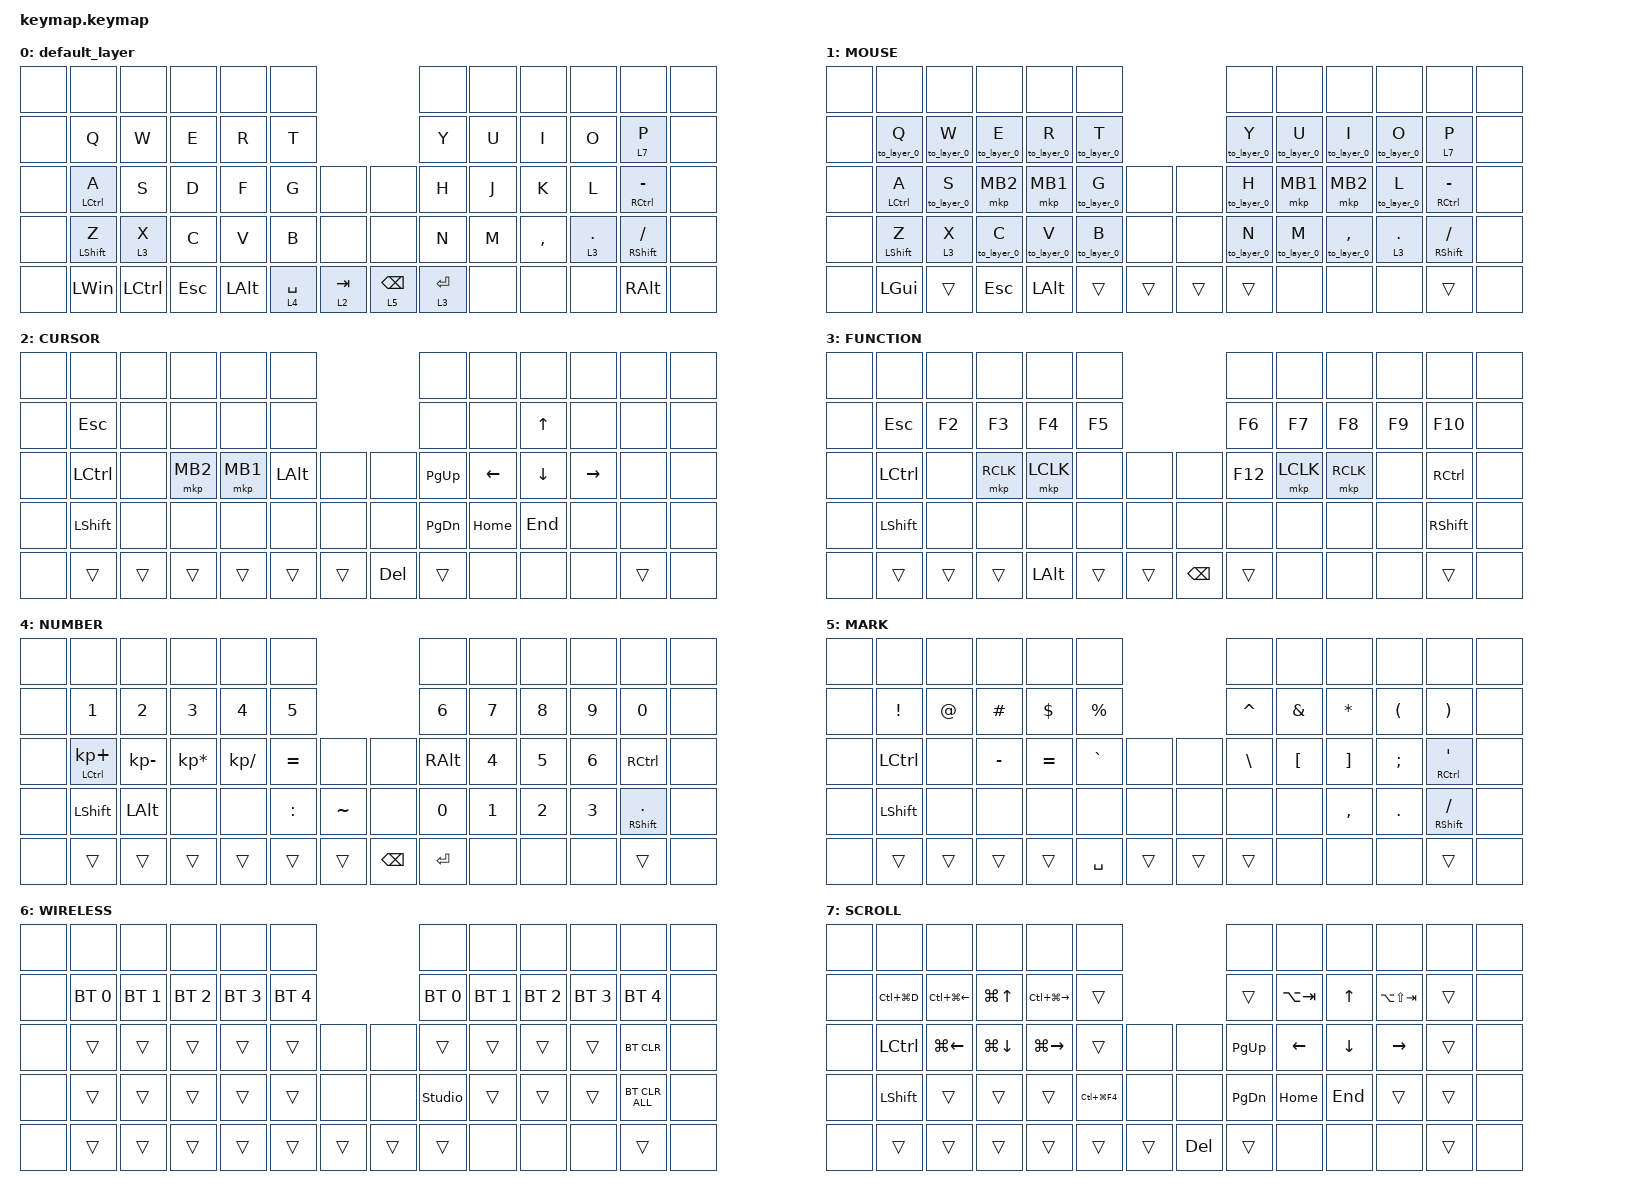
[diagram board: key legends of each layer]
#include <behaviors.dtsi>
#include <dt-bindings/zmk/bt.h>
#include <dt-bindings/zmk/keys.h>
#include <dt-bindings/zmk/pointing.h>

&mt {
    flavor = "balanced";
    quick-tap-ms = <0>;
};

&lt {
    quick-tap-ms = <300>;
    flavor = "balanced";
};

/ {
    combos {
        compatible = "zmk,combos";

        lang1 {
            bindings = <&kp LANG1>;
            key-positions = <21 20>;
        };

        lang2 {
            bindings = <&kp LANG2>;
            key-positions = <15 14>;
        };

        bs {
            bindings = <&kp BACKSPACE>;
            key-positions = <22 21>;
        };
    };

    macros {
        to_layer_0: to_layer_0 {
            compatible = "zmk,behavior-macro-one-param";
            #binding-cells = <1>;
            bindings = <&to 0 &macro_param_1to1 &kp MACRO_PLACEHOLDER>;
            label = "TO_LAYER_0";
        };
    };

    behaviors {
        lt_to_layer_0: lt_to_layer_0 {
            compatible = "zmk,behavior-hold-tap";
            label = "LAYER_TAP_TO_0";
            bindings = <&mo>, <&to_layer_0>;

            #binding-cells = <2>;
            tapping-term-ms = <200>;
        };
    };

    keymap {
        compatible = "zmk,keymap";

        default_layer {
            bindings = <
&none  &none               &none             &none       &none         &none                                                          &none        &none  &none      &none         &none                    &none
&none  &kp Q               &kp W             &kp E       &kp R         &kp T                                                          &kp Y        &kp U  &kp I      &kp O         &lt 7 P                  &none
&none  &mt LEFT_CONTROL A  &kp S             &kp D       &kp F         &kp G        &none                 &none                       &kp H        &kp J  &kp K      &kp L         &mt RIGHT_CONTROL MINUS  &none
&none  &mt LEFT_SHIFT Z    &lt 3 X           &kp C       &kp V         &kp B        &none                 &none                       &kp N        &kp M  &kp COMMA  &lt 3 PERIOD  &mt RIGHT_SHIFT SLASH    &none
&none  &kp LEFT_WIN        &kp LEFT_CONTROL  &kp ESCAPE  &kp LEFT_ALT  &lt 4 SPACE  &lt_to_layer_0 2 TAB  &lt_to_layer_0 5 BACKSPACE  &lt 3 ENTER  &none  &none      &none         &kp RIGHT_ALT            &none
            >;
        };

        MOUSE {
            bindings = <
&none  &none               &none          &none          &none          &none                          &none          &none          &none              &none          &none                    &none
&none  &to_layer_0 Q       &to_layer_0 W  &to_layer_0 E  &to_layer_0 R  &to_layer_0 T                  &to_layer_0 Y  &to_layer_0 U  &to_layer_0 I      &to_layer_0 O  &lt 7 P                  &none
&none  &mt LEFT_CONTROL A  &to_layer_0 S  &mkp MB2       &mkp MB1       &to_layer_0 G  &none   &none   &to_layer_0 H  &mkp MB1       &mkp MB2           &to_layer_0 L  &mt RIGHT_CONTROL MINUS  &none
&none  &mt LEFT_SHIFT Z    &lt 3 X        &to_layer_0 C  &to_layer_0 V  &to_layer_0 B  &none   &none   &to_layer_0 N  &to_layer_0 M  &to_layer_0 COMMA  &lt 3 PERIOD   &mt RIGHT_SHIFT SLASH    &none
&none  &kp LEFT_GUI        &trans         &kp ESCAPE     &kp LEFT_ALT   &trans         &trans  &trans  &trans         &none          &none              &none          &trans                   &none
            >;
        };

        CURSOR {
            bindings = <
&none  &none             &none   &none     &none     &none                          &none          &none           &none           &none            &none   &none
&none  &kp ESCAPE        &none   &none     &none     &none                          &none          &none           &kp UP_ARROW    &none            &none   &none
&none  &kp LEFT_CONTROL  &none   &mkp MB2  &mkp MB1  &kp LEFT_ALT  &none   &none    &kp PAGE_UP    &kp LEFT_ARROW  &kp DOWN_ARROW  &kp RIGHT_ARROW  &none   &none
&none  &kp LEFT_SHIFT    &none   &none     &none     &none         &none   &none    &kp PAGE_DOWN  &kp HOME        &kp END         &none            &none   &none
&none  &trans            &trans  &trans    &trans    &trans        &trans  &kp DEL  &trans         &none           &none           &none            &trans  &none
            >;
        };

        FUNCTION {
            bindings = <
&none  &none             &none   &none      &none         &none                          &none    &none      &none      &none   &none              &none
&none  &kp ESCAPE        &kp F2  &kp F3     &kp F4        &kp F5                         &kp F6   &kp F7     &kp F8     &kp F9  &kp F10            &none
&none  &kp LEFT_CONTROL  &none   &mkp RCLK  &mkp LCLK     &none   &none   &none          &kp F12  &mkp LCLK  &mkp RCLK  &none   &kp RIGHT_CONTROL  &none
&none  &kp LEFT_SHIFT    &none   &none      &none         &none   &none   &none          &none    &none      &none      &none   &kp RIGHT_SHIFT    &none
&none  &trans            &trans  &trans     &kp LEFT_ALT  &trans  &trans  &kp BACKSPACE  &trans   &none      &none      &none   &trans             &none
            >;
        };

        NUMBER {
            bindings = <
&none  &none                     &none         &none            &none         &none                                   &none          &none         &none         &none         &none                   &none
&none  &kp NUMBER_1              &kp NUMBER_2  &kp NUMBER_3     &kp NUMBER_4  &kp NUMBER_5                            &kp NUMBER_6   &kp NUMBER_7  &kp NUMBER_8  &kp NUMBER_9  &kp NUMBER_0            &none
&none  &mt LEFT_CONTROL KP_PLUS  &kp KP_MINUS  &kp KP_ASTERISK  &kp KP_SLASH  &kp EQUAL     &none      &none          &kp RIGHT_ALT  &kp NUMBER_4  &kp NUMBER_5  &kp NUMBER_6  &kp RIGHT_CONTROL       &none
&none  &kp LEFT_SHIFT            &kp LEFT_ALT  &none            &none         &kp COLON     &kp TILDE  &none          &kp NUMBER_0   &kp NUMBER_1  &kp NUMBER_2  &kp NUMBER_3  &mt RIGHT_SHIFT PERIOD  &none
&none  &trans                    &trans        &trans           &trans        &trans        &trans     &kp BACKSPACE  &kp ENTER      &none         &none         &none         &trans                  &none
            >;
        };

        MARK {
            bindings = <
&none  &none             &none   &none      &none       &none                        &none          &none             &none              &none                 &none                           &none
&none  &kp EXCLAMATION   &kp AT  &kp HASH   &kp DOLLAR  &kp PERCENT                  &kp CARET      &kp AMPERSAND     &kp ASTERISK       &kp LEFT_PARENTHESIS  &kp RIGHT_PARENTHESIS           &none
&none  &kp LEFT_CONTROL  &none   &kp MINUS  &kp EQUAL   &kp GRAVE    &none   &none   &kp BACKSLASH  &kp LEFT_BRACKET  &kp RIGHT_BRACKET  &kp SEMICOLON         &mt RIGHT_CONTROL SINGLE_QUOTE  &none
&none  &kp LEFT_SHIFT    &none   &none      &none       &none        &none   &none   &none          &none             &kp COMMA          &kp PERIOD            &mt RIGHT_SHIFT SLASH           &none
&none  &trans            &trans  &trans     &trans      &kp SPACE    &trans  &trans  &trans         &none             &none              &none                 &trans                          &none
            >;
        };

        WIRELESS {
            bindings = <
&none  &none         &none         &none         &none         &none                         &none           &none         &none         &none         &none           &none
&none  &bt BT_SEL 0  &bt BT_SEL 1  &bt BT_SEL 2  &bt BT_SEL 3  &bt BT_SEL 4                  &bt BT_SEL 0    &bt BT_SEL 1  &bt BT_SEL 2  &bt BT_SEL 3  &bt BT_SEL 4    &none
&none  &trans        &trans        &trans        &trans        &trans        &none   &none   &trans          &trans        &trans        &trans        &bt BT_CLR      &none
&none  &trans        &trans        &trans        &trans        &trans        &none   &none   &studio_unlock  &trans        &trans        &trans        &bt BT_CLR_ALL  &none
&none  &trans        &trans        &trans        &trans        &trans        &trans  &trans  &trans          &none         &none         &none         &trans          &none
            >;
        };

        SCROLL {
            bindings = <
&none  &none             &none                   &none               &none                    &none                               &none          &none           &none           &none            &none   &none
&none  &kp LC(LG(D))     &kp LC(LG(LEFT_ARROW))  &kp LG(UP_ARROW)    &kp LC(LG(RIGHT_ARROW))  &trans                              &trans         &kp LA(TAB)     &kp UP_ARROW    &kp LA(LS(TAB))  &trans  &none
&none  &kp LEFT_CONTROL  &kp LG(LEFT_ARROW)      &kp LG(DOWN_ARROW)  &kp LG(RIGHT_ARROW)      &trans          &none   &none       &kp PAGE_UP    &kp LEFT_ARROW  &kp DOWN_ARROW  &kp RIGHT_ARROW  &trans  &none
&none  &kp LEFT_SHIFT    &trans                  &trans              &trans                   &kp LC(LG(F4))  &none   &none       &kp PAGE_DOWN  &kp HOME        &kp END         &trans           &trans  &none
&none  &trans            &trans                  &trans              &trans                   &trans          &trans  &kp DELETE  &trans         &none           &none           &none            &trans  &none
            >;
        };
    };

    conditional_layers {
        compatible = "zmk,conditional-layers";

        wireless {
            if-layers = <2 3>;
            then-layer = <6>;
        };
    };
};
